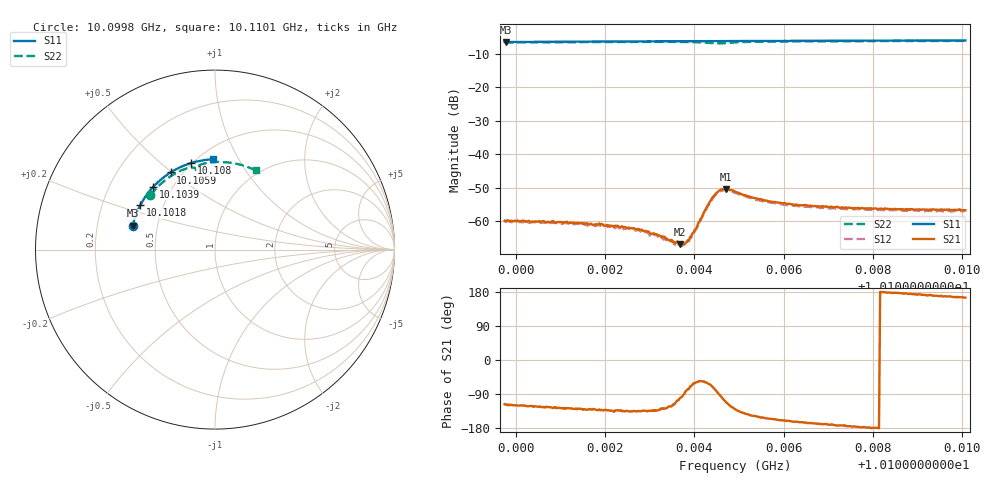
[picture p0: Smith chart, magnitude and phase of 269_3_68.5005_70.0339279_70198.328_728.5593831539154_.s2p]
#  HZ  S  RI  R  50.00
! Rohde & Schwarz Vector Network Analyzer
! Rohde-Schwarz,ZNB20-2Port,1311601062101988,3.16
! Created: UTC 3/20/2024, 5:00:41 PM
! freq[Hz]  re:S11  im:S11  re:S21  im:S21  re:S12  im:S12  re:S22  im:S22
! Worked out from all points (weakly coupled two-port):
!   401 points, 10.0998 GHz to 10.1101 GHz, reference 50 ohm
!   highest |S21| = -50.38 dB at 10.1047 GHz (marker M1); lowest = -67.0 dB at 10.1037 GHz (marker M2)
!   lowest |S11| = -6.4 dB at 10.0998 GHz (marker M3), VSWR 2.83, Z = 18 + j6.18 ohm
!   |S11| at or under -10 dB: nowhere
!   |S22| runs from -6.8 to -6.1 dB; largest |S21 - S12| = 0.00031
!   S11 on the Smith chart (normalised r, x): 10.0998 GHz: 0.36, +0.12; 10.1018 GHz: 0.37, +0.24; 10.1039 GHz: 0.39, +0.36; 10.1059 GHz: 0.43, +0.49; 10.108 GHz: 0.49, +0.64; 10.1101 GHz: 0.58, +0.79
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1.009975e10  -0.4593 0.131  -0.000455 -0.000903  -0.000389 -0.000899  -0.3597 0.3029
1.009978e10  -0.4588 0.1325  -0.000466 -0.000873  -0.00038 -0.000901  -0.3587 0.3042
1.010148e10  -0.4251 0.2305  -0.000586 -0.000727  -0.00052 -0.000711  -0.2821 0.3831
1.010182e10  -0.4158 0.2487  -0.00059 -0.000656  -0.000526 -0.000679  -0.2649 0.3962
1.01028e10  -0.3845 0.2995  -0.000514 -0.000516  -0.000448 -0.00053  -0.2101 0.4305
1.010321e10  -0.3697 0.3195  -0.000399 -0.000457  -0.00037 -0.000493  -0.1851 0.4426
1.010367e10  -0.3516 0.3413  -8.67e-05 -0.000439  -5.37e-05 -0.000438  -0.1544 0.4534
1.010378e10  -0.3476 0.346  4.94e-06 -0.000448  3.49e-05 -0.000441  -0.1471 0.4553
1.010383e10  -0.3453 0.3483  8.48e-05 -0.000476  9.17e-05 -0.00045  -0.1434 0.4561
1.010388e10  -0.3433 0.3506  0.000117 -0.000491  0.000156 -0.000497  -0.1395 0.4566
1.010404e10  -0.3367 0.3573  0.000387 -0.00065  0.000451 -0.0006  -0.1276 0.4575
1.010427e10  -0.3268 0.3673  0.000797 -0.00133  0.000868 -0.00119  -0.1103 0.4537
1.010442e10  -0.32 0.3738  0.000701 -0.0022  0.00084 -0.00204  -0.1038 0.4467
1.010455e10  -0.3142 0.379  2.07e-06 -0.00284  0.000268 -0.00272  -0.1048 0.4432
1.010471e10  -0.3073 0.3852  -0.00107 -0.00283  -0.00079 -0.00278  -0.1075 0.448
1.010491e10  -0.2978 0.3933  -0.00178 -0.00213  -0.00152 -0.00217  -0.1009 0.4601
1.010535e10  -0.277 0.4099  -0.00186 -0.00118  -0.00169 -0.00125  -0.0727 0.4759
1.010594e10  -0.2472 0.4299  -0.00174 -0.000658  -0.00163 -0.000784  -0.0325 0.4849
1.010664e10  -0.2107 0.4509  -0.00164 -0.000381  -0.00152 -0.000539  0.0135 0.4885
1.010801e10  -0.134 0.4821  -0.00153 -2.21e-05  -0.00146 -0.000167  0.1015 0.4816
1.010837e10  -0.1129 0.4881  -0.0015 5.21e-05  -0.00145 -0.000115  0.1241 0.477
1.011007e10  -0.0114 0.5034  -0.0014 0.000385  -0.0014 0.000242  0.2266 0.4414
